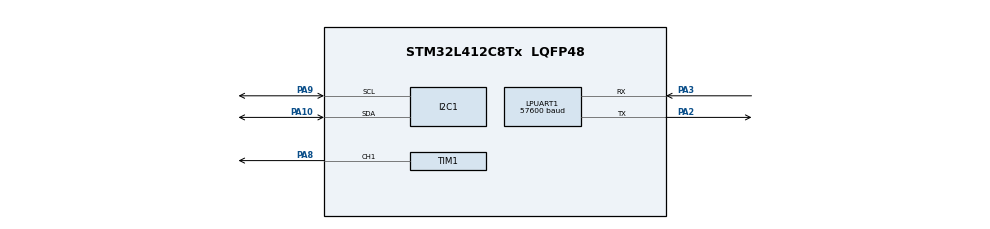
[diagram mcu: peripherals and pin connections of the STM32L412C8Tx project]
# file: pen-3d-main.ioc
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LPUART1.BaudRate=57600
LPUART1.WordLength=UART_WORDLENGTH_8B
Mcu.Family=STM32L4
Mcu.Name=STM32L412C8Tx
Mcu.Package=LQFP48
NVIC.PriorityGroup=NVIC_PRIORITYGROUP_4
PA10.Mode=I2C
PA10.Signal=I2C1_SDA
PA2.Mode=Asynchronous
PA2.Signal=LPUART1_TX
PA3.Mode=Asynchronous
PA3.Signal=LPUART1_RX
PA8.Signal=S_TIM1_CH1
PA9.Mode=I2C
PA9.Signal=I2C1_SCL
ProjectManager.HeapSize=0x200
ProjectManager.StackSize=0x400
ProjectManager.TargetToolchain=STM32CubeIDE
RCC.ADCFreq_Value=4000000
RCC.HSE_VALUE=8000000
RCC.HSI48_VALUE=48000000
RCC.HSI_VALUE=16000000
RCC.LSE_VALUE=32768
RCC.MSI_VALUE=4000000
RCC.USBFreq_Value=4000000
RCC.VCOOutputFreq_Value=32000000
SH.S_TIM1_CH1.0=TIM1_CH1,PWM Generation1 CH1
TIM1.AutoReloadPreload=TIM_AUTORELOAD_PRELOAD_ENABLE
TIM1.Channel-PWM\ Generation1\ CH1=TIM_CHANNEL_1
VP_TIM1_VS_ClockSourceINT.Mode=Internal
board=custom

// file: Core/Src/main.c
/* USER CODE BEGIN Header */
/**
  ******************************************************************************
  * @file           : main.c
  * @brief          : Main program body
  ******************************************************************************
  * @attention
  *
  * Copyright (c) 2023 STMicroelectronics.
  * All rights reserved.
  *
  * This software is licensed under terms that can be found in the LICENSE file
  * in the root directory of this software component.
  * If no LICENSE file comes with this software, it is provided AS-IS.
  *
  ******************************************************************************
  */
/* USER CODE END Header */
#include "main.h"

/* USER CODE BEGIN Includes */
#include <stdio.h>
#include <stdarg.h>

/* USER CODE END Includes */

I2C_HandleTypeDef hi2c1;

UART_HandleTypeDef hlpuart1;

TIM_HandleTypeDef htim1;

void SystemClock_Config(void);
static void MX_GPIO_Init(void);
static void MX_LPUART1_UART_Init(void);
static void MX_I2C1_Init(void);
static void MX_TIM1_Init(void);

int main(void)
{
  /* USER CODE BEGIN 1 */
	//int i = 0;

  /* USER CODE END 1 */

  /* MCU Configuration--------------------------------------------------------*/

  /* Reset of all peripherals, Initializes the Flash interface and the Systick. */
  HAL_Init();

  /* Configure the system clock */
  SystemClock_Config();

  /* Initialize all configured peripherals */
  MX_GPIO_Init();
  MX_LPUART1_UART_Init();
  MX_I2C1_Init();
  MX_TIM1_Init();
  /* USER CODE BEGIN 2 */
  //uart_init();
  HAL_TIM_PWM_Start(&htim1, TIM_CHANNEL_1);

  /* USER CODE END 2 */

  /* Infinite loop */
  while (1)
  {

    /* USER CODE BEGIN 3 */
	//HAL_GPIO_TogglePin (GPIOA, GPIO_PIN_3);
	HAL_Delay(2);
	//myprintf("hello world!\n");
	  int i = mygetch();
	  //myprintf("1");

	if (i >= 0)
	{
		myprintf("%d\n", i);
		   if (i >= '0' && i <= '9')
		   {
			   myprintf("%d\n", i);
			   TIM1->CCR1 = (i-'0')*6553;
		   }

	}

  }
  /* USER CODE END 3 */
}

void SystemClock_Config(void)
{
  RCC_OscInitTypeDef RCC_OscInitStruct = {0};
  RCC_ClkInitTypeDef RCC_ClkInitStruct = {0};

  /** Configure the main internal regulator output voltage
  */
  if (HAL_PWREx_ControlVoltageScaling(PWR_REGULATOR_VOLTAGE_SCALE1) != HAL_OK)
  {
    Error_Handler();
  }

  /** Initializes the RCC Oscillators according to the specified parameters
  * in the RCC_OscInitTypeDef structure.
  */
  RCC_OscInitStruct.OscillatorType = RCC_OSCILLATORTYPE_MSI;
  RCC_OscInitStruct.MSIState = RCC_MSI_ON;
  RCC_OscInitStruct.MSICalibrationValue = 0;
  RCC_OscInitStruct.MSIClockRange = RCC_MSIRANGE_6;
  RCC_OscInitStruct.PLL.PLLState = RCC_PLL_NONE;
  if (HAL_RCC_OscConfig(&RCC_OscInitStruct) != HAL_OK)
  {
    Error_Handler();
  }

  /** Initializes the CPU, AHB and APB buses clocks
  */
  RCC_ClkInitStruct.ClockType = RCC_CLOCKTYPE_HCLK|RCC_CLOCKTYPE_SYSCLK
                              |RCC_CLOCKTYPE_PCLK1|RCC_CLOCKTYPE_PCLK2;
  RCC_ClkInitStruct.SYSCLKSource = RCC_SYSCLKSOURCE_MSI;
  RCC_ClkInitStruct.AHBCLKDivider = RCC_SYSCLK_DIV1;
  RCC_ClkInitStruct.APB1CLKDivider = RCC_HCLK_DIV1;
  RCC_ClkInitStruct.APB2CLKDivider = RCC_HCLK_DIV1;

  if (HAL_RCC_ClockConfig(&RCC_ClkInitStruct, FLASH_LATENCY_0) != HAL_OK)
  {
    Error_Handler();
  }
}

static void MX_I2C1_Init(void)
{

  hi2c1.Instance = I2C1;
  hi2c1.Init.Timing = 0x00000E14;
  hi2c1.Init.OwnAddress1 = 0;
  hi2c1.Init.AddressingMode = I2C_ADDRESSINGMODE_7BIT;
  hi2c1.Init.DualAddressMode = I2C_DUALADDRESS_DISABLE;
  hi2c1.Init.OwnAddress2 = 0;
  hi2c1.Init.OwnAddress2Masks = I2C_OA2_NOMASK;
  hi2c1.Init.GeneralCallMode = I2C_GENERALCALL_DISABLE;
  hi2c1.Init.NoStretchMode = I2C_NOSTRETCH_DISABLE;
  if (HAL_I2C_Init(&hi2c1) != HAL_OK)
  {
    Error_Handler();
  }

  /** Configure Analogue filter
  */
  if (HAL_I2CEx_ConfigAnalogFilter(&hi2c1, I2C_ANALOGFILTER_ENABLE) != HAL_OK)
  {
    Error_Handler();
  }

  /** Configure Digital filter
  */
  if (HAL_I2CEx_ConfigDigitalFilter(&hi2c1, 0) != HAL_OK)
  {
    Error_Handler();
  }

}

static void MX_LPUART1_UART_Init(void)
{

  hlpuart1.Instance = LPUART1;
  hlpuart1.Init.BaudRate = 57600;
  hlpuart1.Init.WordLength = UART_WORDLENGTH_8B;
  hlpuart1.Init.StopBits = UART_STOPBITS_1;
  hlpuart1.Init.Parity = UART_PARITY_NONE;
  hlpuart1.Init.Mode = UART_MODE_TX_RX;
  hlpuart1.Init.HwFlowCtl = UART_HWCONTROL_NONE;
  hlpuart1.Init.OneBitSampling = UART_ONE_BIT_SAMPLE_DISABLE;
  hlpuart1.AdvancedInit.AdvFeatureInit = UART_ADVFEATURE_NO_INIT;
  if (HAL_UART_Init(&hlpuart1) != HAL_OK)
  {
    Error_Handler();
  }

}

static void MX_TIM1_Init(void)
{

  TIM_ClockConfigTypeDef sClockSourceConfig = {0};
  TIM_MasterConfigTypeDef sMasterConfig = {0};
  TIM_OC_InitTypeDef sConfigOC = {0};
  TIM_BreakDeadTimeConfigTypeDef sBreakDeadTimeConfig = {0};

  htim1.Instance = TIM1;
  htim1.Init.Prescaler = 0;
  htim1.Init.CounterMode = TIM_COUNTERMODE_UP;
  htim1.Init.Period = 65535;
  htim1.Init.ClockDivision = TIM_CLOCKDIVISION_DIV1;
  htim1.Init.RepetitionCounter = 0;
  htim1.Init.AutoReloadPreload = TIM_AUTORELOAD_PRELOAD_ENABLE;
  if (HAL_TIM_Base_Init(&htim1) != HAL_OK)
  {
    Error_Handler();
  }
  sClockSourceConfig.ClockSource = TIM_CLOCKSOURCE_INTERNAL;
  if (HAL_TIM_ConfigClockSource(&htim1, &sClockSourceConfig) != HAL_OK)
  {
    Error_Handler();
  }
  if (HAL_TIM_PWM_Init(&htim1) != HAL_OK)
  {
    Error_Handler();
  }
  sMasterConfig.MasterOutputTrigger = TIM_TRGO_RESET;
  sMasterConfig.MasterOutputTrigger2 = TIM_TRGO2_RESET;
  sMasterConfig.MasterSlaveMode = TIM_MASTERSLAVEMODE_DISABLE;
  if (HAL_TIMEx_MasterConfigSynchronization(&htim1, &sMasterConfig) != HAL_OK)
  {
    Error_Handler();
  }
  sConfigOC.OCMode = TIM_OCMODE_PWM1;
  sConfigOC.Pulse = 0;
  sConfigOC.OCPolarity = TIM_OCPOLARITY_HIGH;
  sConfigOC.OCNPolarity = TIM_OCNPOLARITY_HIGH;
  sConfigOC.OCFastMode = TIM_OCFAST_DISABLE;
  sConfigOC.OCIdleState = TIM_OCIDLESTATE_RESET;
  sConfigOC.OCNIdleState = TIM_OCNIDLESTATE_RESET;
  if (HAL_TIM_PWM_ConfigChannel(&htim1, &sConfigOC, TIM_CHANNEL_1) != HAL_OK)
  {
    Error_Handler();
  }
  sBreakDeadTimeConfig.OffStateRunMode = TIM_OSSR_DISABLE;
  sBreakDeadTimeConfig.OffStateIDLEMode = TIM_OSSI_DISABLE;
  sBreakDeadTimeConfig.LockLevel = TIM_LOCKLEVEL_OFF;
  sBreakDeadTimeConfig.DeadTime = 0;
  sBreakDeadTimeConfig.BreakState = TIM_BREAK_DISABLE;
  sBreakDeadTimeConfig.BreakPolarity = TIM_BREAKPOLARITY_HIGH;
  sBreakDeadTimeConfig.BreakFilter = 0;
  sBreakDeadTimeConfig.Break2State = TIM_BREAK2_DISABLE;
  sBreakDeadTimeConfig.Break2Polarity = TIM_BREAK2POLARITY_HIGH;
  sBreakDeadTimeConfig.Break2Filter = 0;
  sBreakDeadTimeConfig.AutomaticOutput = TIM_AUTOMATICOUTPUT_DISABLE;
  if (HAL_TIMEx_ConfigBreakDeadTime(&htim1, &sBreakDeadTimeConfig) != HAL_OK)
  {
    Error_Handler();
  }
  HAL_TIM_MspPostInit(&htim1);

}

static void MX_GPIO_Init(void)
{

  /* GPIO Ports Clock Enable */
  __HAL_RCC_GPIOA_CLK_ENABLE();

}

/* USER CODE BEGIN 4 */

void mywrite (unsigned char *st, int nby)
{
   if (nby) HAL_UART_Transmit(&hlpuart1,st,nby,10);
}

void myprintf (const char *fmt, ...)
{
   va_list arglist;
   int nby;
   unsigned char st[256];

   if (!fmt) return;
   va_start(arglist,fmt);
   nby = vsnprintf((char *)st,sizeof(st),fmt,arglist);
   va_end(arglist);
   if (nby < 0) { nby = sizeof(st)-1; } //print truncated string in case too long
   if (nby) HAL_UART_Transmit(&hlpuart1,st,nby,10);
}
#if 1

#define uart_init()
int mygetch (void)
{
   uint8_t ch = 0;
   if (HAL_UART_Receive(&hlpuart1, (uint8_t *)&ch, 1, 0) == HAL_OK) return ch;
   return -1; //HAL_TIMEOUT
}
#else

#define RECBUFN 1024
static uint8_t recbuf[RECBUFN];
static uint32_t recbufr = 0, recbufw = 0;

void HAL_UART_RxCpltCallback (UART_HandleTypeDef *huart)
{
	recbufw++;
	HAL_UART_Receive_IT(&hlpuart1,&recbuf[recbufw&(RECBUFN-1)],1);
}

void uart_init (void)
{
	//HAL_UART_Receive_IT(&hlpuart1,&recbuf[recbufw&(RECBUFN-1)] ,1);
}
//start recv ints

int mygetch (void)
{
   //if (!(USART3->CR3&1)) //This hack stops UART recv stream from freezing randomly from overruns
   //   { HAL_UART_Receive_IT(&hlp,&recbuf[recbufw&(RECBUFN-1)],1); }
   if (recbufr == recbufw) return(-1);
   recbufr++; return(recbuf[(recbufr-1)&(RECBUFN-1)]);
}
#endif

/* USER CODE END 4 */

void Error_Handler(void)
{
  __disable_irq();
  while (1)
  {
  }
}
